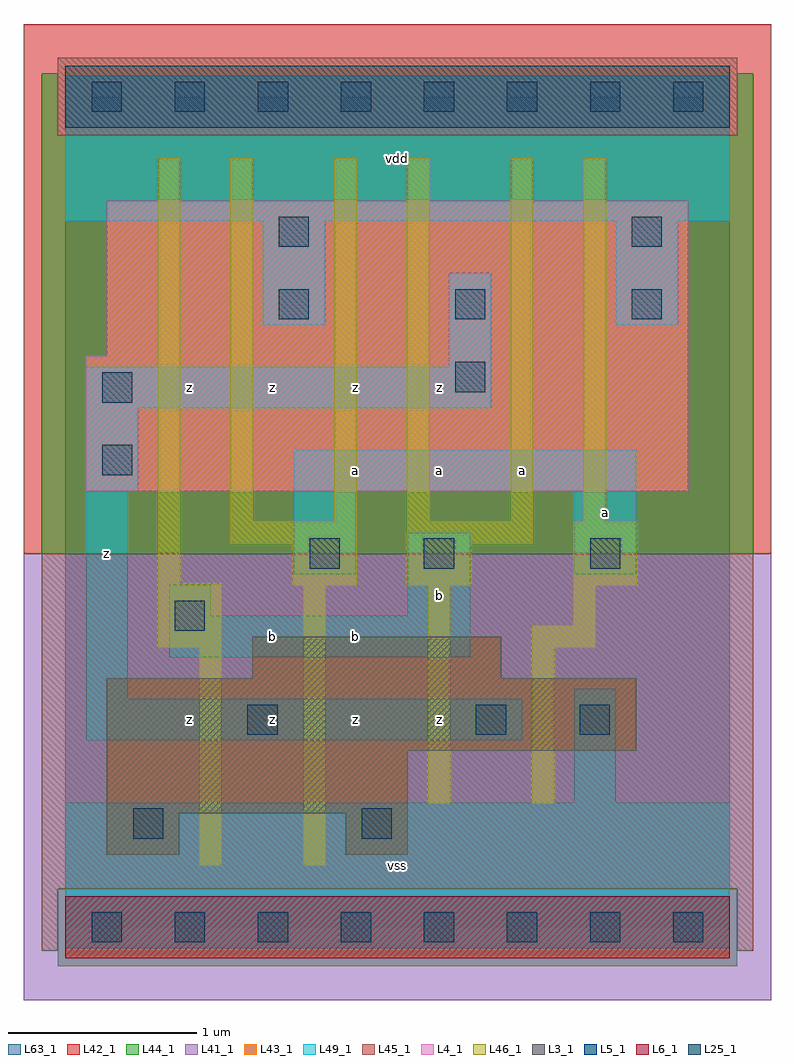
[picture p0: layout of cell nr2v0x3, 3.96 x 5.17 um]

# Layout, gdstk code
import gdstk
lib = gdstk.Library(unit=1e-6, precision=1e-09)
def R(c, l, rs):  # rectangles x0, y0, x1, y1
    for r in rs: c.add(gdstk.rectangle(r[:2], r[2:], *l))
def A(c, l, x, y, w, h, nx, ny, dx, dy):  # array of equal rectangles
    R(c, l, [(x+i*dx, y+j*dy, x+i*dx+w, y+j*dy+h) for i in range(nx) for j in range(ny)])
L3_1 = (3, 1)
L4_1 = (4, 1)
L5_1 = (5, 1)
L6_1 = (6, 1)
L25_1 = (25, 1)
L41_1 = (41, 1)
L42_1 = (42, 1)
L43_1 = (43, 1)
L44_1 = (44, 1)
L45_1 = (45, 1)
L46_1 = (46, 1)
L49_1 = (49, 1)
L63_1 = (63, 1)

nr2v0x3 = lib.new_cell('nr2v0x3')
R(nr2v0x3, L3_1, [(0.22,0.385,0.605,0.605), (1.485,0.385,1.815,0.605), (0.22,0.605,1.815,0.935), (0.22,0.935,3.025,1.32), (0.99,1.32,2.31,1.54)])
R(nr2v0x3, L4_1, [(0.11,2.31,3.3,3.025), (0.22,3.025,3.3,3.85)])
R(nr2v0x3, L5_1, [(0,4.235,3.52,4.565)])
R(nr2v0x3, L6_1, [(0,-0.165,3.52,0.165)])
A(nr2v0x3, L25_1, 0.14, -0.08, 0.16, 0.16, 8, 2, 0.44, 4.4)
A(nr2v0x3, L25_1, 1.13, 3.22, 0.16, 0.16, 3, 1, 0.935, 0)
R(nr2v0x3, L25_1, [(0.36,0.47,0.52,0.63), (1.57,0.47,1.73,0.63), (0.965,1.02,1.125,1.18), (2.175,1.02,2.335,1.18), (2.725,1.02,2.885,1.18), (0.58,1.57,0.74,1.73), (1.295,1.9,1.455,2.06), (1.9,1.9,2.06,2.06), (2.78,1.9,2.94,2.06), (0.195,2.395,0.355,2.555), (0.195,2.78,0.355,2.94), (2.065,2.835,2.225,2.995), (1.13,3.605,1.29,3.765), (3,3.605,3.16,3.765)])
R(nr2v0x3, L41_1, [(-0.22,-0.385,3.74,1.98)])
R(nr2v0x3, L42_1, [(-0.22,1.98,3.74,4.785)])
R(nr2v0x3, L43_1, [(0,-0.165,3.52,0.165), (0.22,0.385,0.605,0.605), (1.485,0.385,1.815,0.605), (0.22,0.605,1.815,0.935), (0.22,0.935,3.025,1.32), (0.99,1.32,2.31,1.54), (0.11,2.31,3.3,3.025), (0.22,3.025,3.3,3.85), (0,4.235,3.52,4.565)])
R(nr2v0x3, L44_1, [(-0.04,-0.205,3.56,0.205), (-0.125,1.98,3.645,4.195), (-0.125,4.195,-0.04,4.525), (3.56,4.195,3.645,4.525)])
R(nr2v0x3, L45_1, [(-0.125,-0.125,-0.04,0.205), (3.56,-0.125,3.645,0.205), (-0.125,0.205,3.645,1.98), (-0.04,4.195,3.56,4.605)])
R(nr2v0x3, L46_1, [(0.71,0.325,0.83,1.48), (1.26,0.325,1.38,1.81), (1.92,0.655,2.04,1.81), (2.47,0.655,2.59,1.48), (0.49,1.48,0.83,1.82), (2.47,1.48,2.81,1.6), (2.69,1.6,2.81,1.81), (1.205,1.81,1.545,2.03), (1.81,1.81,2.15,2.03), (2.69,1.81,3.03,2.15), (0.49,1.82,0.61,4.075), (0.875,2.03,1.545,2.15), (1.81,2.03,2.48,2.15), (0.875,2.15,0.995,4.075), (1.425,2.15,1.545,4.075), (1.81,2.15,1.93,4.075), (2.36,2.15,2.48,4.075), (2.745,2.15,2.865,4.075)])
R(nr2v0x3, L49_1, [(0,-0.11,3.52,0.66), (2.695,0.66,2.915,1.265), (0.11,0.99,2.42,1.21), (0.11,1.21,0.33,2.31), (0.55,1.43,2.145,1.65), (0.55,1.65,0.77,1.815), (1.815,1.65,2.145,2.09), (1.21,1.87,1.54,2.31), (2.695,1.87,3.025,2.31), (0.11,2.31,0.385,2.75), (1.21,2.31,3.025,2.53), (0.11,2.75,2.255,2.97), (2.035,2.97,2.255,3.465), (1.045,3.19,1.375,3.74), (2.915,3.19,3.245,3.74), (0,3.74,3.52,4.51)])
R(nr2v0x3, L63_1, [(0,0,3.52,4.4)])
nr2v0x3.add(gdstk.Label('z', (0.22,1.98), layer=49, texttype=1))
nr2v0x3.add(gdstk.Label('z', (0.66,1.1), layer=49, texttype=1))
nr2v0x3.add(gdstk.Label('b', (1.1,1.54), layer=49, texttype=1))
nr2v0x3.add(gdstk.Label('z', (1.1,1.1), layer=49, texttype=1))
nr2v0x3.add(gdstk.Label('z', (1.1,2.86), layer=49, texttype=1))
nr2v0x3.add(gdstk.Label('z', (0.66,2.86), layer=49, texttype=1))
nr2v0x3.add(gdstk.Label('vss', (1.76,0.33), layer=49, texttype=1))
nr2v0x3.add(gdstk.Label('z', (1.54,1.1), layer=49, texttype=1))
nr2v0x3.add(gdstk.Label('b', (1.54,1.54), layer=49, texttype=1))
nr2v0x3.add(gdstk.Label('z', (1.98,1.1), layer=49, texttype=1))
nr2v0x3.add(gdstk.Label('b', (1.98,1.76), layer=49, texttype=1))
nr2v0x3.add(gdstk.Label('a', (1.54,2.42), layer=49, texttype=1))
nr2v0x3.add(gdstk.Label('a', (1.98,2.42), layer=49, texttype=1))
nr2v0x3.add(gdstk.Label('z', (1.98,2.86), layer=49, texttype=1))
nr2v0x3.add(gdstk.Label('z', (1.54,2.86), layer=49, texttype=1))
nr2v0x3.add(gdstk.Label('vdd', (1.76,4.07), layer=49, texttype=1))
nr2v0x3.add(gdstk.Label('a', (2.42,2.42), layer=49, texttype=1))
nr2v0x3.add(gdstk.Label('a', (2.86,2.2), layer=49, texttype=1))

lib.write_gds('nr2v0x3.gds')
